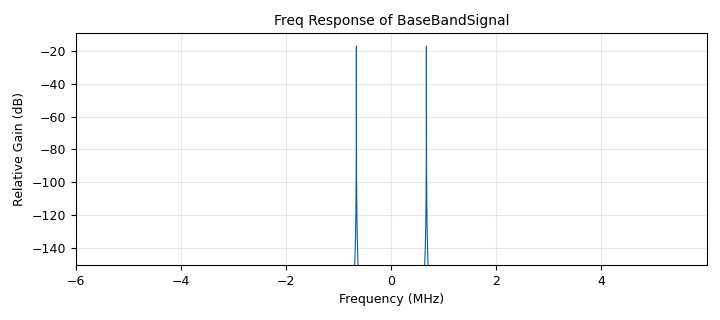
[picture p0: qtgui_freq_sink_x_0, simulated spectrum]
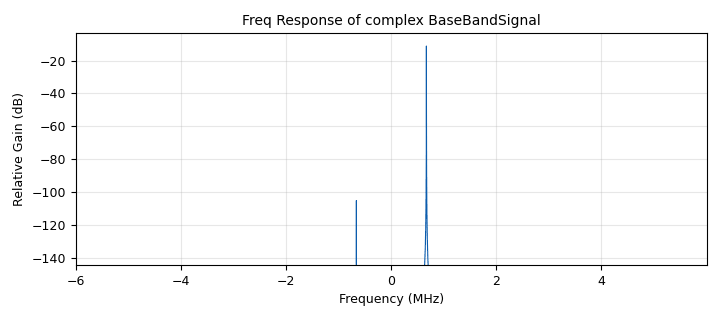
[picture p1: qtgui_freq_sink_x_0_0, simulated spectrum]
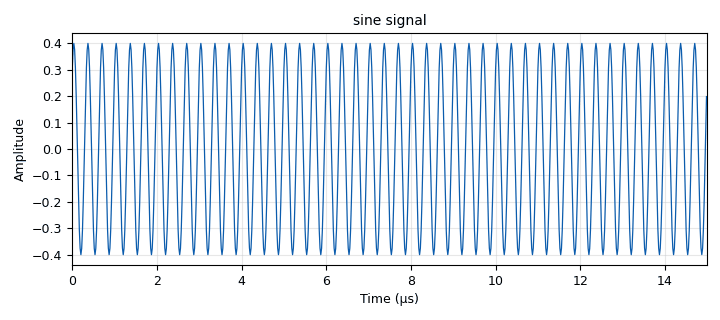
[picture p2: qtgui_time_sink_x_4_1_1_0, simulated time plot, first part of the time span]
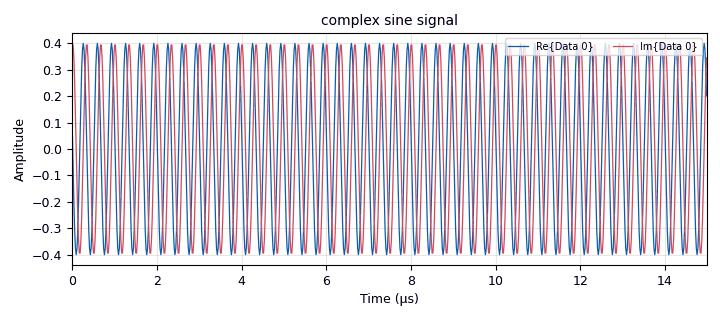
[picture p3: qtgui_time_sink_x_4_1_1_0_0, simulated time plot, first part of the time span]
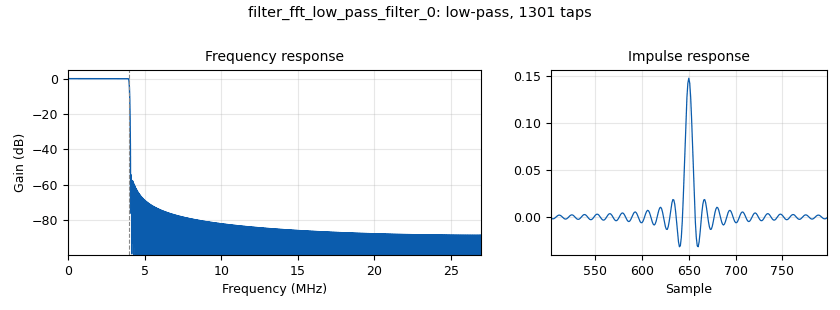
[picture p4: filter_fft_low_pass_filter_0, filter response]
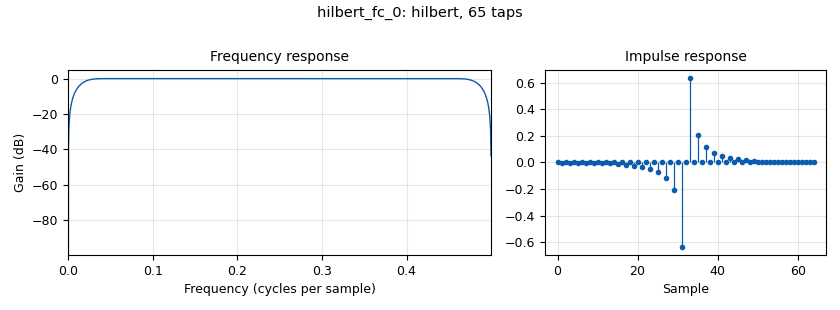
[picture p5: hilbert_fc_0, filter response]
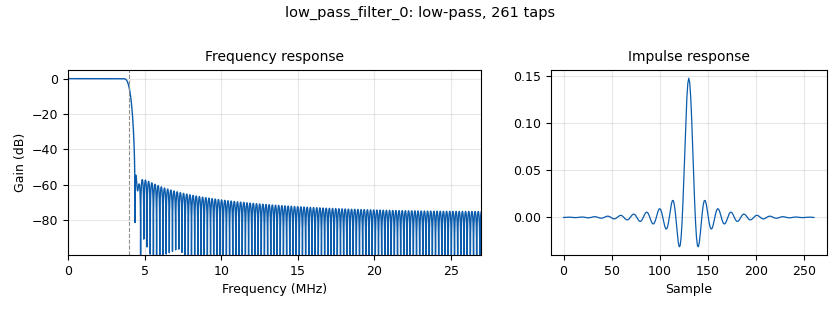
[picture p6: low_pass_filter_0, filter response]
options:
  parameters:
    generate_options: qt_gui
    id: baseband_to_RF
    output_language: python
    title: Not titled yet
  states: {}

blocks:
- name: Mhz
  id: variable
  parameters:
    value: 1000*1000
  states: {}
- name: RF_BW
  id: variable
  parameters:
    value: 3*Mhz
  states: {}
- name: fm
  id: variable
  parameters:
    value: 3*Mhz
  states: {}
- name: samp_rate
  id: variable
  parameters:
    value: 9*2*fm
  states: {}
- name: analog_sig_source_x_0
  id: analog_sig_source_x
  parameters:
    amp: '0.4'
    freq: 3*Mhz
    offset: '0'
    phase: '0'
    samp_rate: samp_rate
    type: float
    waveform: analog.GR_COS_WAVE
  states: {}
- name: filter_fft_low_pass_filter_0
  id: filter_fft_low_pass_filter
  parameters:
    cutoff_freq: 4*Mhz
    decim: '1'
    gain: '1'
    samp_rate: samp_rate
    type: fff
    width: 0.1*Mhz
    win: window.WIN_HAMMING
  states: {}
- name: hilbert_fc_0
  id: hilbert_fc
  parameters:
    num_taps: '65'
    win: window.WIN_BLACKMAN
  states: {}
- name: iio_pluto_sink_0
  id: iio_pluto_sink
  parameters:
    attenuation1: '1.0'
    bandwidth: RF_BW
    buffer_size: '32768'
    cyclic: 'False'
    filter_source: '''Auto'''
    frequency: 499*Mhz
    samplerate: samp_rate
    type: fc32
  states: {}
- name: iio_pluto_source_0
  id: iio_pluto_source
  parameters:
    bandwidth: RF_BW
    bbdc: 'True'
    buffer_size: '32768'
    filter_source: '''Auto'''
    frequency: 499*Mhz
    gain1: '''slow_attack'''
    manual_gain1: '60'
    quadrature: 'True'
    rfdc: 'True'
    samplerate: samp_rate
    type: fc32
  states: {}
- name: import_0
  id: import
  parameters:
    imports: import numpy
  states: {}
- name: low_pass_filter_0
  id: low_pass_filter
  parameters:
    cutoff_freq: 4*Mhz
    decim: '1'
    gain: '1'
    samp_rate: samp_rate
    type: fir_filter_fff
    width: 0.5*Mhz
    win: window.WIN_HAMMING
  states: {}
- name: qtgui_freq_sink_x_0
  id: qtgui_freq_sink_x
  parameters:
    autoscale: 'True'
    average: '0.05'
    bw: fm*4
    fc: '0'
    fftsize: 1024*2*8*2
    grid: 'True'
    name: '"Freq Response of BaseBandSignal"'
    norm_window: 'True'
    type: float
    update_time: '2'
    wintype: window.WIN_BLACKMAN
    ymax: '-1.5'
    ymin: '-2.5'
  states: {}
- name: qtgui_freq_sink_x_0_0
  id: qtgui_freq_sink_x
  parameters:
    autoscale: 'True'
    average: '0.05'
    bw: fm*4
    fc: '0'
    fftsize: 1024*2*8*2
    grid: 'True'
    name: '"Freq Response of complex BaseBandSignal"'
    norm_window: 'True'
    type: complex
    update_time: '2'
    wintype: window.WIN_BLACKMAN
    ymax: '-1.5'
    ymin: '-2.5'
  states: {}
- name: qtgui_freq_sink_x_0_0_0
  id: qtgui_freq_sink_x
  parameters:
    autoscale: 'True'
    average: '0.05'
    bw: RF_BW*2
    fc: 499*Mhz
    fftsize: 1024*2*8*2
    grid: 'True'
    name: '"Freq Response of RFSignal"'
    norm_window: 'True'
    type: complex
    update_time: '2'
    wintype: window.WIN_BLACKMAN
    ymax: '-1.5'
    ymin: '-2.5'
  states: {}
- name: qtgui_time_sink_x_1_0_0
  id: qtgui_time_sink_x
  parameters:
    autoscale: 'True'
    grid: 'True'
    name: '"RXmodulated Signal"'
    size: 1000*100
    srate: samp_rate
    type: complex
    update_time: '500'
    ymax: '2'
    ymin: '-2'
  states: {}
- name: qtgui_time_sink_x_4_1_1_0
  id: qtgui_time_sink_x
  parameters:
    autoscale: 'True'
    grid: 'True'
    name: '"sine signal"'
    size: 100*(int((1/fm)*samp_rate))
    srate: samp_rate
    type: float
    update_time: '500'
  states: {}
- name: qtgui_time_sink_x_4_1_1_0_0
  id: qtgui_time_sink_x
  parameters:
    autoscale: 'True'
    grid: 'True'
    name: '"complex sine signal"'
    size: 100*(int((1/fm)*samp_rate))
    srate: samp_rate
    type: complex
    update_time: '500'
  states: {}

connections:
- [analog_sig_source_x_0, '0', filter_fft_low_pass_filter_0, '0']
- [analog_sig_source_x_0, '0', low_pass_filter_0, '0']
- [filter_fft_low_pass_filter_0, '0', hilbert_fc_0, '0']
- [hilbert_fc_0, '0', iio_pluto_sink_0, '0']
- [hilbert_fc_0, '0', qtgui_freq_sink_x_0_0, '0']
- [hilbert_fc_0, '0', qtgui_time_sink_x_4_1_1_0_0, '0']
- [iio_pluto_source_0, '0', qtgui_freq_sink_x_0_0_0, '0']
- [iio_pluto_source_0, '0', qtgui_time_sink_x_1_0_0, '0']
- [low_pass_filter_0, '0', qtgui_freq_sink_x_0, '0']
- [low_pass_filter_0, '0', qtgui_time_sink_x_4_1_1_0, '0']

metadata:
  file_format: 1
  grc_version: 3.10.11.0
